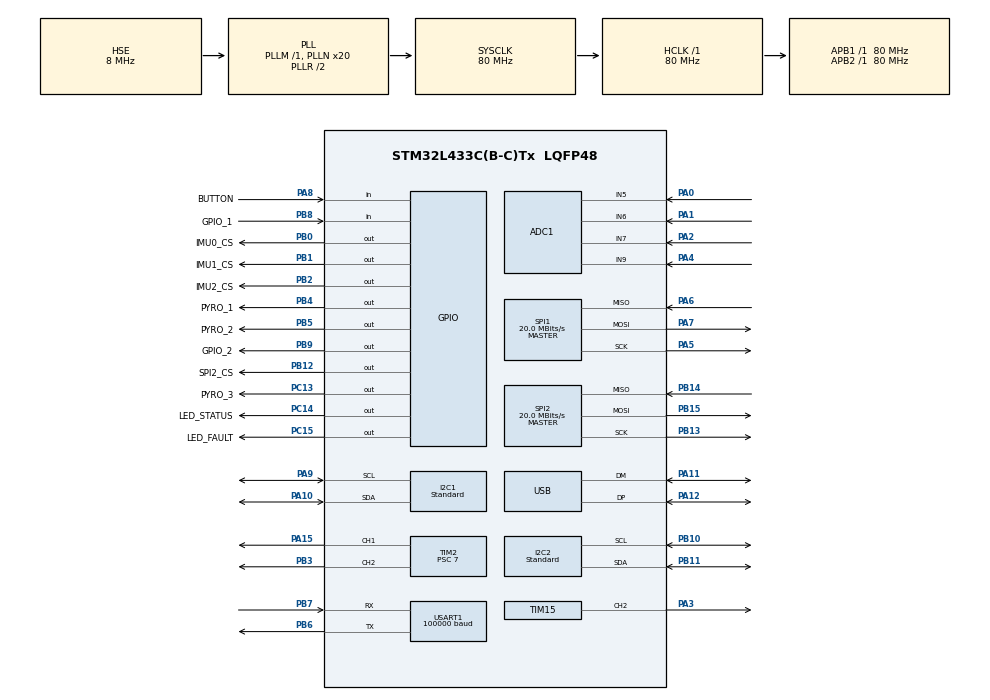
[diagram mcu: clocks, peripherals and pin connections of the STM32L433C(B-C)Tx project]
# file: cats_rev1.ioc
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ADC1.Channel-0\#ChannelRegularConversion=ADC_CHANNEL_5
ADC1.Channel-1\#ChannelRegularConversion=ADC_CHANNEL_6
ADC1.Channel-2\#ChannelRegularConversion=ADC_CHANNEL_7
ADC1.Channel-3\#ChannelRegularConversion=ADC_CHANNEL_9
ADC1.ContinuousConvMode=ENABLE
ADC1.DMAContinuousRequests=ENABLE
ADC1.NbrOfConversion=4
ADC1.NbrOfConversionFlag=1
ADC1.OffsetNumber-0\#ChannelRegularConversion=ADC_OFFSET_NONE
ADC1.OffsetNumber-1\#ChannelRegularConversion=ADC_OFFSET_NONE
ADC1.OffsetNumber-2\#ChannelRegularConversion=ADC_OFFSET_NONE
ADC1.OffsetNumber-3\#ChannelRegularConversion=ADC_OFFSET_NONE
ADC1.Rank-0\#ChannelRegularConversion=1
ADC1.Rank-1\#ChannelRegularConversion=2
ADC1.Rank-2\#ChannelRegularConversion=3
ADC1.Rank-3\#ChannelRegularConversion=4
ADC1.SamplingTime-0\#ChannelRegularConversion=ADC_SAMPLETIME_92CYCLES_5
ADC1.SamplingTime-1\#ChannelRegularConversion=ADC_SAMPLETIME_92CYCLES_5
ADC1.SamplingTime-2\#ChannelRegularConversion=ADC_SAMPLETIME_92CYCLES_5
ADC1.SamplingTime-3\#ChannelRegularConversion=ADC_SAMPLETIME_92CYCLES_5
ADC1.master=1
Dma.ADC1.0.Direction=DMA_PERIPH_TO_MEMORY
Dma.ADC1.0.Instance=DMA1_Channel1
Dma.ADC1.0.MemDataAlignment=DMA_MDATAALIGN_WORD
Dma.ADC1.0.MemInc=DMA_MINC_ENABLE
Dma.ADC1.0.Mode=DMA_CIRCULAR
Dma.ADC1.0.PeriphDataAlignment=DMA_PDATAALIGN_WORD
Dma.ADC1.0.PeriphInc=DMA_PINC_DISABLE
Dma.ADC1.0.Priority=DMA_PRIORITY_LOW
Dma.Request0=ADC1
Dma.Request1=USART1_RX
Dma.USART1_RX.1.Direction=DMA_PERIPH_TO_MEMORY
Dma.USART1_RX.1.Instance=DMA1_Channel5
Dma.USART1_RX.1.MemDataAlignment=DMA_MDATAALIGN_BYTE
Dma.USART1_RX.1.MemInc=DMA_MINC_ENABLE
Dma.USART1_RX.1.Mode=DMA_CIRCULAR
Dma.USART1_RX.1.PeriphDataAlignment=DMA_PDATAALIGN_BYTE
Dma.USART1_RX.1.PeriphInc=DMA_PINC_DISABLE
Dma.USART1_RX.1.Priority=DMA_PRIORITY_LOW
FREERTOS.HEAP_NUMBER=4
FREERTOS.INCLUDE_eTaskGetState=1
FREERTOS.INCLUDE_pcTaskGetTaskName=0
FREERTOS.INCLUDE_uxTaskGetStackHighWaterMark=1
FREERTOS.INCLUDE_uxTaskGetStackHighWaterMark2=0
FREERTOS.INCLUDE_uxTaskPriorityGet=1
FREERTOS.INCLUDE_vTaskCleanUpResources=0
FREERTOS.INCLUDE_vTaskDelay=1
FREERTOS.INCLUDE_vTaskDelayUntil=1
FREERTOS.INCLUDE_vTaskDelete=1
FREERTOS.INCLUDE_vTaskPrioritySet=1
FREERTOS.INCLUDE_vTaskSuspend=1
FREERTOS.INCLUDE_xEventGroupSetBitFromISR=0
FREERTOS.INCLUDE_xQueueGetMutexHolder=1
FREERTOS.INCLUDE_xSemaphoreGetMutexHolder=0
FREERTOS.INCLUDE_xTaskAbortDelay=0
FREERTOS.INCLUDE_xTaskGetCurrentTaskHandle=0
FREERTOS.INCLUDE_xTaskGetHandle=0
FREERTOS.INCLUDE_xTaskGetSchedulerState=1
FREERTOS.INCLUDE_xTaskResumeFromISR=1
FREERTOS.INCLUDE_xTimerPendFunctionCall=1
FREERTOS.Tasks01=task_init_name,24,256,task_init,As weak,NULL,Static,task_init_buffer,task_init_control_block
FREERTOS.configCHECK_FOR_STACK_OVERFLOW=0
FREERTOS.configENABLE_BACKWARD_COMPATIBILITY=1
FREERTOS.configENABLE_FPU=1
FREERTOS.configGENERATE_RUN_TIME_STATS=0
FREERTOS.configIDLE_SHOULD_YIELD=1
FREERTOS.configLIBRARY_LOWEST_INTERRUPT_PRIORITY=15
FREERTOS.configLIBRARY_MAX_SYSCALL_INTERRUPT_PRIORITY=5
FREERTOS.configMAX_CO_ROUTINE_PRIORITIES=2
FREERTOS.configMAX_TASK_NAME_LEN=16
FREERTOS.configMINIMAL_STACK_SIZE=128
FREERTOS.configQUEUE_REGISTRY_SIZE=8
FREERTOS.configRECORD_STACK_HIGH_ADDRESS=0
FREERTOS.configTICK_RATE_HZ=1000
FREERTOS.configTIMER_QUEUE_LENGTH=10
FREERTOS.configTIMER_TASK_PRIORITY=2
FREERTOS.configTIMER_TASK_STACK_DEPTH=256
FREERTOS.configTOTAL_HEAP_SIZE=10240
FREERTOS.configUSE_APPLICATION_TASK_TAG=0
FREERTOS.configUSE_COUNTING_SEMAPHORES=1
FREERTOS.configUSE_CO_ROUTINES=0
FREERTOS.configUSE_DAEMON_TASK_STARTUP_HOOK=0
FREERTOS.configUSE_IDLE_HOOK=0
FREERTOS.configUSE_MALLOC_FAILED_HOOK=0
FREERTOS.configUSE_MUTEXES=1
FREERTOS.configUSE_NEWLIB_REENTRANT=0
FREERTOS.configUSE_POSIX_ERRNO=0
FREERTOS.configUSE_PREEMPTION=1
FREERTOS.configUSE_RECURSIVE_MUTEXES=1
FREERTOS.configUSE_STATS_FORMATTING_FUNCTIONS=0
FREERTOS.configUSE_TASK_NOTIFICATIONS=1
FREERTOS.configUSE_TICKLESS_IDLE=0
FREERTOS.configUSE_TICK_HOOK=0
FREERTOS.configUSE_TRACE_FACILITY=1
FREERTOS.copyHeapFile=1
I2C1.AddressingMode=I2C_ADDRESSINGMODE_7BIT
I2C1.Analog_Filter=I2C_ANALOGFILTER_ENABLE
I2C1.CustomTiming=Disabled
I2C1.DualAddressMode=I2C_DUALADDRESS_DISABLE
I2C1.GeneralCallMode=I2C_GENERALCALL_DISABLE
I2C1.I2C_Coeff_DF=0
I2C1.I2C_Fall_Time=0
I2C1.I2C_Rise_Time=0
I2C1.I2C_Speed_Mode=I2C_Standard
I2C1.NoStretchMode=I2C_NOSTRETCH_DISABLE
I2C1.OwnAddress=0
I2C1.Speed=100
I2C1.Timing=0x10909CEC
I2C2.AddressingMode=I2C_ADDRESSINGMODE_7BIT
I2C2.Analog_Filter=I2C_ANALOGFILTER_ENABLE
I2C2.CustomTiming=Disabled
I2C2.DualAddressMode=I2C_DUALADDRESS_DISABLE
I2C2.GeneralCallMode=I2C_GENERALCALL_DISABLE
I2C2.I2C_Coeff_DF=0
I2C2.I2C_Fall_Time=0
I2C2.I2C_Rise_Time=0
I2C2.I2C_Speed_Mode=I2C_Standard
I2C2.NoStretchMode=I2C_NOSTRETCH_DISABLE
I2C2.OwnAddress=0
I2C2.Speed=100
I2C2.Timing=0x10909CEC
Mcu.Family=STM32L4
Mcu.Name=STM32L433C(B-C)Tx
Mcu.Package=LQFP48
NVIC.DMA1_Channel1_IRQn=true\:5\:0\:false\:false\:true\:true\:false\:true
NVIC.DMA1_Channel5_IRQn=true\:5\:0\:false\:false\:true\:true\:false\:true
NVIC.I2C1_ER_IRQn=true\:5\:0\:false\:false\:true\:true\:true\:true
NVIC.I2C1_EV_IRQn=true\:5\:0\:false\:false\:true\:true\:true\:true
NVIC.I2C2_ER_IRQn=true\:5\:0\:false\:false\:true\:true\:true\:true
NVIC.I2C2_EV_IRQn=true\:5\:0\:false\:false\:true\:true\:true\:true
NVIC.PriorityGroup=NVIC_PRIORITYGROUP_4
NVIC.SPI1_IRQn=true\:5\:0\:false\:false\:true\:true\:true\:true
NVIC.SPI2_IRQn=true\:5\:0\:false\:false\:true\:true\:true\:true
NVIC.TIM1_UP_TIM16_IRQn=true\:0\:0\:false\:false\:true\:false\:true\:true
NVIC.TimeBase=TIM1_UP_TIM16_IRQn
NVIC.TimeBaseIP=TIM1
NVIC.USART1_IRQn=true\:5\:0\:false\:false\:true\:true\:true\:true
NVIC.USB_IRQn=true\:5\:0\:false\:false\:true\:true\:true\:true
PA0.Signal=ADCx_IN5
PA1.Signal=ADCx_IN6
PA10.Mode=I2C
PA10.Signal=I2C1_SDA
PA11.Mode=Device
PA11.Signal=USB_DM
PA12.Mode=Device
PA12.Signal=USB_DP
PA13\ (JTMS-SWDIO).Mode=Serial_Wire
PA13\ (JTMS-SWDIO).Signal=SYS_JTMS-SWDIO
PA14\ (JTCK-SWCLK).Mode=Serial_Wire
PA14\ (JTCK-SWCLK).Signal=SYS_JTCK-SWCLK
PA15\ (JTDI).Signal=S_TIM2_CH1
PA2.Signal=ADCx_IN7
PA3.Signal=S_TIM15_CH2
PA4.Signal=ADCx_IN9
PA5.Mode=Full_Duplex_Master
PA5.Signal=SPI1_SCK
PA6.Mode=Full_Duplex_Master
PA6.Signal=SPI1_MISO
PA7.Mode=Full_Duplex_Master
PA7.Signal=SPI1_MOSI
PA8.GPIO_Label=BUTTON
PA8.Signal=GPIO_Input
PA9.Mode=I2C
PA9.Signal=I2C1_SCL
PB0.GPIO_Label=IMU0_CS
PB0.Signal=GPIO_Output
PB1.GPIO_Label=IMU1_CS
PB1.Signal=GPIO_Output
PB10.Mode=I2C
PB10.Signal=I2C2_SCL
PB11.Mode=I2C
PB11.Signal=I2C2_SDA
PB12.GPIO_Label=SPI2_CS
PB12.GPIO_Speed=GPIO_SPEED_FREQ_VERY_HIGH
PB12.Signal=GPIO_Output
PB13.Mode=Full_Duplex_Master
PB13.Signal=SPI2_SCK
PB14.Mode=Full_Duplex_Master
PB14.Signal=SPI2_MISO
PB15.Mode=Full_Duplex_Master
PB15.Signal=SPI2_MOSI
PB2.GPIO_Label=IMU2_CS
PB2.Signal=GPIO_Output
PB3\ (JTDO-TRACESWO).Signal=S_TIM2_CH2
PB4\ (NJTRST).GPIO_Label=PYRO_1
PB4\ (NJTRST).Signal=GPIO_Output
PB5.GPIO_Label=PYRO_2
PB5.Signal=GPIO_Output
PB6.Mode=Asynchronous
PB6.Signal=USART1_TX
PB7.Mode=Asynchronous
PB7.Signal=USART1_RX
PB8.GPIO_Label=GPIO_1
PB8.GPIO_PuPd=GPIO_PULLUP
PB8.Signal=GPIO_Input
PB9.GPIO_Label=GPIO_2
PB9.Signal=GPIO_Output
PC13.GPIO_Label=PYRO_3
PC13.Signal=GPIO_Output
PC14-OSC32_IN\ (PC14).GPIO_Label=LED_STATUS
PC14-OSC32_IN\ (PC14).Signal=GPIO_Output
PC15-OSC32_OUT\ (PC15).GPIO_Label=LED_FAULT
PC15-OSC32_OUT\ (PC15).Signal=GPIO_Output
PH0-OSC_IN\ (PH0).Mode=HSE-External-Oscillator
PH0-OSC_IN\ (PH0).Signal=RCC_OSC_IN
PH1-OSC_OUT\ (PH1).Mode=HSE-External-Oscillator
PH1-OSC_OUT\ (PH1).Signal=RCC_OSC_OUT
ProjectManager.HeapSize=0x200
ProjectManager.StackSize=0x400
ProjectManager.TargetToolchain=STM32CubeIDE
RCC.ADCFreq_Value=48000000
RCC.AHBFreq_Value=80000000
RCC.APB1Freq_Value=80000000
RCC.APB1TimFreq_Value=80000000
RCC.APB2Freq_Value=80000000
RCC.APB2TimFreq_Value=80000000
RCC.CortexFreq_Value=80000000
RCC.FLatency=FLASH_LATENCY_4
RCC.HCLKFreq_Value=80000000
RCC.HSE_VALUE=8000000
RCC.HSI48_VALUE=48000000
RCC.HSI_VALUE=16000000
RCC.LSE_VALUE=32768
RCC.MSI_VALUE=4000000
RCC.PLLN=20
RCC.PLLSAI1N=12
RCC.PLLSourceVirtual=RCC_PLLSOURCE_HSE
RCC.SYSCLKFreq_VALUE=80000000
RCC.SYSCLKSource=RCC_SYSCLKSOURCE_PLLCLK
RCC.USBFreq_Value=48000000
RCC.VCOOutputFreq_Value=160000000
SH.ADCx_IN5.0=ADC1_IN5,IN5-Single-Ended
SH.ADCx_IN6.0=ADC1_IN6,IN6-Single-Ended
SH.ADCx_IN7.0=ADC1_IN7,IN7-Single-Ended
SH.ADCx_IN9.0=ADC1_IN9,IN9-Single-Ended
SH.S_TIM15_CH2.0=TIM15_CH2,PWM Generation2 CH2
SH.S_TIM2_CH1.0=TIM2_CH1,PWM Generation1 CH1
SH.S_TIM2_CH2.0=TIM2_CH2,PWM Generation2 CH2
SPI1.BaudRatePrescaler=SPI_BAUDRATEPRESCALER_4
SPI1.CLKPhase=SPI_PHASE_1EDGE
SPI1.CLKPolarity=SPI_POLARITY_LOW
SPI1.CRCCalculation=SPI_CRCCALCULATION_DISABLE
SPI1.CalculateBaudRate=20.0 MBits/s
SPI1.DataSize=SPI_DATASIZE_8BIT
SPI1.Direction=SPI_DIRECTION_2LINES
SPI1.FirstBit=SPI_FIRSTBIT_MSB
SPI1.Mode=SPI_MODE_MASTER
SPI1.NSS=SPI_NSS_SOFT
SPI1.NSSPMode=SPI_NSS_PULSE_ENABLE
SPI1.TIMode=SPI_TIMODE_DISABLE
SPI1.VirtualType=VM_MASTER
SPI2.BaudRatePrescaler=SPI_BAUDRATEPRESCALER_4
SPI2.CalculateBaudRate=20.0 MBits/s
SPI2.DataSize=SPI_DATASIZE_8BIT
SPI2.Direction=SPI_DIRECTION_2LINES
SPI2.Mode=SPI_MODE_MASTER
SPI2.VirtualType=VM_MASTER
TIM15.Channel-PWM\ Generation2\ CH2=TIM_CHANNEL_2
TIM15.Period=40000
TIM15.Prescaler=1
TIM2.Channel-PWM\ Generation1\ CH1=TIM_CHANNEL_1
TIM2.Channel-PWM\ Generation2\ CH2=TIM_CHANNEL_2
TIM2.Period=199999
TIM2.Prescaler=7
TIM2.Pulse-PWM\ Generation1\ CH1=0
TIM2.Pulse-PWM\ Generation2\ CH2=199999
USART1.BaudRate=100000
USART1.Mode=MODE_RX
USART1.StopBits=STOPBITS_2
USART1.VirtualMode-Asynchronous=VM_ASYNC
USART1.WordLength=WORDLENGTH_9B
USB.DeviceSpeed=PCD_SPEED_FULL
USB.Sof_enable=DISABLE
USB.battery_charging_enable=DISABLE
USB.low_power_enable=DISABLE
USB.lpm_enable=DISABLE
USB.phy_itface=PCD_PHY_EMBEDDED
USB_DEVICE.CLASS_NAME_FS=CDC
USB_DEVICE.VirtualMode=Cdc
USB_DEVICE.VirtualModeFS=Cdc_FS
VP_FREERTOS_VS_CMSIS_V2.Mode=CMSIS_V2
VP_SYS_VS_tim1.Mode=TIM1
VP_USB_DEVICE_VS_USB_DEVICE_CDC_FS.Mode=CDC_FS
board=custom

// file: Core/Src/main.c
/* USER CODE BEGIN Header */
/**
 ******************************************************************************
 * @file           : main.c
 * @brief          : Main program body
 ******************************************************************************
 * @attention
 *
 * <h2><center>&copy; Copyright (c) 2020 STMicroelectronics.
 * All rights reserved.</center></h2>
 *
 * This software component is licensed by ST under Ultimate Liberty license
 * SLA0044, the "License"; You may not use this file except in compliance with
 * the License. You may obtain a copy of the License at:
 *                             www.st.com/SLA0044
 *
 ******************************************************************************
 */
/* USER CODE END Header */
#include "main.h"
#include "cmsis_os.h"
#include "usb_device.h"

/* USER CODE BEGIN Includes */
#include "util/types.h"
#include "util/log.h"
#include "util/recorder.h"
/* USER CODE END Includes */

typedef StaticTask_t osStaticThreadDef_t;

ADC_HandleTypeDef hadc1;
DMA_HandleTypeDef hdma_adc1;

I2C_HandleTypeDef hi2c1;
I2C_HandleTypeDef hi2c2;

SPI_HandleTypeDef hspi1;
SPI_HandleTypeDef hspi2;

TIM_HandleTypeDef htim2;
TIM_HandleTypeDef htim15;

UART_HandleTypeDef huart1;
DMA_HandleTypeDef hdma_usart1_rx;

/* Definitions for task_init_name */
osThreadId_t task_init_nameHandle;
uint32_t task_init_buffer[ 256 ];
osStaticThreadDef_t task_init_control_block;
const osThreadAttr_t task_init_name_attributes = {
  .name = "task_init_name",
  .stack_mem = &task_init_buffer[0],
  .stack_size = sizeof(task_init_buffer),
  .cb_mem = &task_init_control_block,
  .cb_size = sizeof(task_init_control_block),
  .priority = (osPriority_t) osPriorityNormal,
};

void SystemClock_Config(void);
static void MX_GPIO_Init(void);
static void MX_DMA_Init(void);
static void MX_I2C1_Init(void);
static void MX_I2C2_Init(void);
static void MX_SPI1_Init(void);
static void MX_ADC1_Init(void);
static void MX_SPI2_Init(void);
static void MX_TIM2_Init(void);
static void MX_USART1_UART_Init(void);
static void MX_TIM15_Init(void);
void task_init(void *argument);

int main(void)
{

  /* MCU Configuration--------------------------------------------------------*/

  /* Reset of all peripherals, Initializes the Flash interface and the Systick. */
  HAL_Init();

  /* Configure the system clock */
  SystemClock_Config();

  /* Initialize all configured peripherals */
  MX_GPIO_Init();
  MX_DMA_Init();
  MX_I2C1_Init();
  MX_I2C2_Init();
  MX_SPI1_Init();
  MX_ADC1_Init();
  MX_SPI2_Init();
  MX_TIM2_Init();
  MX_USART1_UART_Init();
  MX_TIM15_Init();
  /* USER CODE BEGIN 2 */
  MX_USB_DEVICE_Init();
#if (configUSE_TRACE_FACILITY == 1)
  vTraceEnable(TRC_INIT);
#endif
  /* USER CODE END 2 */

  /* Init scheduler */
  osKernelInitialize();

  /* USER CODE BEGIN RTOS_MUTEX */
  /* add mutexes, ... */
#ifdef CATS_DEBUG
  const osMutexAttr_t print_mutex_attr = {
      "print_mutex",       // human readable mutex name
      osMutexPrioInherit,  // attr_bits
      NULL,                // memory for control block
      0U                   // size for control block
  };
  print_mutex = osMutexNew(&print_mutex_attr);
#endif
  /* USER CODE END RTOS_MUTEX */

  /* Create the thread(s) */
  /* creation of task_init_name */
  task_init_nameHandle = osThreadNew(task_init, NULL, &task_init_name_attributes);

  /* Start scheduler */
  osKernelStart();

  /* We should never get here as control is now taken by the scheduler */
  /* Infinite loop */
  while (1) {

  }
}

void SystemClock_Config(void)
{
  RCC_OscInitTypeDef RCC_OscInitStruct = {0};
  RCC_ClkInitTypeDef RCC_ClkInitStruct = {0};
  RCC_PeriphCLKInitTypeDef PeriphClkInit = {0};

  /** Initializes the RCC Oscillators according to the specified parameters
  * in the RCC_OscInitTypeDef structure.
  */
  RCC_OscInitStruct.OscillatorType = RCC_OSCILLATORTYPE_HSE;
  RCC_OscInitStruct.HSEState = RCC_HSE_ON;
  RCC_OscInitStruct.PLL.PLLState = RCC_PLL_ON;
  RCC_OscInitStruct.PLL.PLLSource = RCC_PLLSOURCE_HSE;
  RCC_OscInitStruct.PLL.PLLM = 1;
  RCC_OscInitStruct.PLL.PLLN = 20;
  RCC_OscInitStruct.PLL.PLLP = RCC_PLLP_DIV7;
  RCC_OscInitStruct.PLL.PLLQ = RCC_PLLQ_DIV2;
  RCC_OscInitStruct.PLL.PLLR = RCC_PLLR_DIV2;
  if (HAL_RCC_OscConfig(&RCC_OscInitStruct) != HAL_OK)
  {
    Error_Handler();
  }
  /** Initializes the CPU, AHB and APB buses clocks
  */
  RCC_ClkInitStruct.ClockType = RCC_CLOCKTYPE_HCLK|RCC_CLOCKTYPE_SYSCLK
                              |RCC_CLOCKTYPE_PCLK1|RCC_CLOCKTYPE_PCLK2;
  RCC_ClkInitStruct.SYSCLKSource = RCC_SYSCLKSOURCE_PLLCLK;
  RCC_ClkInitStruct.AHBCLKDivider = RCC_SYSCLK_DIV1;
  RCC_ClkInitStruct.APB1CLKDivider = RCC_HCLK_DIV1;
  RCC_ClkInitStruct.APB2CLKDivider = RCC_HCLK_DIV1;

  if (HAL_RCC_ClockConfig(&RCC_ClkInitStruct, FLASH_LATENCY_4) != HAL_OK)
  {
    Error_Handler();
  }
  PeriphClkInit.PeriphClockSelection = RCC_PERIPHCLK_USART1|RCC_PERIPHCLK_I2C1
                              |RCC_PERIPHCLK_I2C2|RCC_PERIPHCLK_USB
                              |RCC_PERIPHCLK_ADC;
  PeriphClkInit.Usart1ClockSelection = RCC_USART1CLKSOURCE_PCLK2;
  PeriphClkInit.I2c1ClockSelection = RCC_I2C1CLKSOURCE_PCLK1;
  PeriphClkInit.I2c2ClockSelection = RCC_I2C2CLKSOURCE_PCLK1;
  PeriphClkInit.AdcClockSelection = RCC_ADCCLKSOURCE_PLLSAI1;
  PeriphClkInit.UsbClockSelection = RCC_USBCLKSOURCE_PLLSAI1;
  PeriphClkInit.PLLSAI1.PLLSAI1Source = RCC_PLLSOURCE_HSE;
  PeriphClkInit.PLLSAI1.PLLSAI1M = 1;
  PeriphClkInit.PLLSAI1.PLLSAI1N = 12;
  PeriphClkInit.PLLSAI1.PLLSAI1P = RCC_PLLP_DIV7;
  PeriphClkInit.PLLSAI1.PLLSAI1Q = RCC_PLLQ_DIV2;
  PeriphClkInit.PLLSAI1.PLLSAI1R = RCC_PLLR_DIV2;
  PeriphClkInit.PLLSAI1.PLLSAI1ClockOut = RCC_PLLSAI1_48M2CLK|RCC_PLLSAI1_ADC1CLK;
  if (HAL_RCCEx_PeriphCLKConfig(&PeriphClkInit) != HAL_OK)
  {
    Error_Handler();
  }
  /** Configure the main internal regulator output voltage
  */
  if (HAL_PWREx_ControlVoltageScaling(PWR_REGULATOR_VOLTAGE_SCALE1) != HAL_OK)
  {
    Error_Handler();
  }
}

static void MX_ADC1_Init(void)
{

  ADC_ChannelConfTypeDef sConfig = {0};

  /** Common config
  */
  hadc1.Instance = ADC1;
  hadc1.Init.ClockPrescaler = ADC_CLOCK_ASYNC_DIV1;
  hadc1.Init.Resolution = ADC_RESOLUTION_12B;
  hadc1.Init.DataAlign = ADC_DATAALIGN_RIGHT;
  hadc1.Init.ScanConvMode = ADC_SCAN_ENABLE;
  hadc1.Init.EOCSelection = ADC_EOC_SINGLE_CONV;
  hadc1.Init.LowPowerAutoWait = DISABLE;
  hadc1.Init.ContinuousConvMode = ENABLE;
  hadc1.Init.NbrOfConversion = 4;
  hadc1.Init.DiscontinuousConvMode = DISABLE;
  hadc1.Init.ExternalTrigConv = ADC_SOFTWARE_START;
  hadc1.Init.ExternalTrigConvEdge = ADC_EXTERNALTRIGCONVEDGE_NONE;
  hadc1.Init.DMAContinuousRequests = ENABLE;
  hadc1.Init.Overrun = ADC_OVR_DATA_PRESERVED;
  hadc1.Init.OversamplingMode = DISABLE;
  if (HAL_ADC_Init(&hadc1) != HAL_OK)
  {
    Error_Handler();
  }
  /** Configure Regular Channel
  */
  sConfig.Channel = ADC_CHANNEL_5;
  sConfig.Rank = ADC_REGULAR_RANK_1;
  sConfig.SamplingTime = ADC_SAMPLETIME_92CYCLES_5;
  sConfig.SingleDiff = ADC_SINGLE_ENDED;
  sConfig.OffsetNumber = ADC_OFFSET_NONE;
  sConfig.Offset = 0;
  if (HAL_ADC_ConfigChannel(&hadc1, &sConfig) != HAL_OK)
  {
    Error_Handler();
  }
  /** Configure Regular Channel
  */
  sConfig.Channel = ADC_CHANNEL_6;
  sConfig.Rank = ADC_REGULAR_RANK_2;
  if (HAL_ADC_ConfigChannel(&hadc1, &sConfig) != HAL_OK)
  {
    Error_Handler();
  }
  /** Configure Regular Channel
  */
  sConfig.Channel = ADC_CHANNEL_7;
  sConfig.Rank = ADC_REGULAR_RANK_3;
  if (HAL_ADC_ConfigChannel(&hadc1, &sConfig) != HAL_OK)
  {
    Error_Handler();
  }
  /** Configure Regular Channel
  */
  sConfig.Channel = ADC_CHANNEL_9;
  sConfig.Rank = ADC_REGULAR_RANK_4;
  if (HAL_ADC_ConfigChannel(&hadc1, &sConfig) != HAL_OK)
  {
    Error_Handler();
  }

}

static void MX_I2C1_Init(void)
{

  hi2c1.Instance = I2C1;
  hi2c1.Init.Timing = 0x10909CEC;
  hi2c1.Init.OwnAddress1 = 0;
  hi2c1.Init.AddressingMode = I2C_ADDRESSINGMODE_7BIT;
  hi2c1.Init.DualAddressMode = I2C_DUALADDRESS_DISABLE;
  hi2c1.Init.OwnAddress2 = 0;
  hi2c1.Init.OwnAddress2Masks = I2C_OA2_NOMASK;
  hi2c1.Init.GeneralCallMode = I2C_GENERALCALL_DISABLE;
  hi2c1.Init.NoStretchMode = I2C_NOSTRETCH_DISABLE;
  if (HAL_I2C_Init(&hi2c1) != HAL_OK)
  {
    Error_Handler();
  }
  /** Configure Analogue filter
  */
  if (HAL_I2CEx_ConfigAnalogFilter(&hi2c1, I2C_ANALOGFILTER_ENABLE) != HAL_OK)
  {
    Error_Handler();
  }
  /** Configure Digital filter
  */
  if (HAL_I2CEx_ConfigDigitalFilter(&hi2c1, 0) != HAL_OK)
  {
    Error_Handler();
  }

}

static void MX_I2C2_Init(void)
{

  hi2c2.Instance = I2C2;
  hi2c2.Init.Timing = 0x10909CEC;
  hi2c2.Init.OwnAddress1 = 0;
  hi2c2.Init.AddressingMode = I2C_ADDRESSINGMODE_7BIT;
  hi2c2.Init.DualAddressMode = I2C_DUALADDRESS_DISABLE;
  hi2c2.Init.OwnAddress2 = 0;
  hi2c2.Init.OwnAddress2Masks = I2C_OA2_NOMASK;
  hi2c2.Init.GeneralCallMode = I2C_GENERALCALL_DISABLE;
  hi2c2.Init.NoStretchMode = I2C_NOSTRETCH_DISABLE;
  if (HAL_I2C_Init(&hi2c2) != HAL_OK)
  {
    Error_Handler();
  }
  /** Configure Analogue filter
  */
  if (HAL_I2CEx_ConfigAnalogFilter(&hi2c2, I2C_ANALOGFILTER_ENABLE) != HAL_OK)
  {
    Error_Handler();
  }
  /** Configure Digital filter
  */
  if (HAL_I2CEx_ConfigDigitalFilter(&hi2c2, 0) != HAL_OK)
  {
    Error_Handler();
  }

}

static void MX_SPI1_Init(void)
{

  /* SPI1 parameter configuration*/
  hspi1.Instance = SPI1;
  hspi1.Init.Mode = SPI_MODE_MASTER;
  hspi1.Init.Direction = SPI_DIRECTION_2LINES;
  hspi1.Init.DataSize = SPI_DATASIZE_8BIT;
  hspi1.Init.CLKPolarity = SPI_POLARITY_LOW;
  hspi1.Init.CLKPhase = SPI_PHASE_1EDGE;
  hspi1.Init.NSS = SPI_NSS_SOFT;
  hspi1.Init.BaudRatePrescaler = SPI_BAUDRATEPRESCALER_4;
  hspi1.Init.FirstBit = SPI_FIRSTBIT_MSB;
  hspi1.Init.TIMode = SPI_TIMODE_DISABLE;
  hspi1.Init.CRCCalculation = SPI_CRCCALCULATION_DISABLE;
  hspi1.Init.CRCPolynomial = 7;
  hspi1.Init.CRCLength = SPI_CRC_LENGTH_DATASIZE;
  hspi1.Init.NSSPMode = SPI_NSS_PULSE_ENABLE;
  if (HAL_SPI_Init(&hspi1) != HAL_OK)
  {
    Error_Handler();
  }

}

static void MX_SPI2_Init(void)
{

  /* SPI2 parameter configuration*/
  hspi2.Instance = SPI2;
  hspi2.Init.Mode = SPI_MODE_MASTER;
  hspi2.Init.Direction = SPI_DIRECTION_2LINES;
  hspi2.Init.DataSize = SPI_DATASIZE_8BIT;
  hspi2.Init.CLKPolarity = SPI_POLARITY_LOW;
  hspi2.Init.CLKPhase = SPI_PHASE_1EDGE;
  hspi2.Init.NSS = SPI_NSS_SOFT;
  hspi2.Init.BaudRatePrescaler = SPI_BAUDRATEPRESCALER_4;
  hspi2.Init.FirstBit = SPI_FIRSTBIT_MSB;
  hspi2.Init.TIMode = SPI_TIMODE_DISABLE;
  hspi2.Init.CRCCalculation = SPI_CRCCALCULATION_DISABLE;
  hspi2.Init.CRCPolynomial = 7;
  hspi2.Init.CRCLength = SPI_CRC_LENGTH_DATASIZE;
  hspi2.Init.NSSPMode = SPI_NSS_PULSE_ENABLE;
  if (HAL_SPI_Init(&hspi2) != HAL_OK)
  {
    Error_Handler();
  }

}

static void MX_TIM2_Init(void)
{

  TIM_MasterConfigTypeDef sMasterConfig = {0};
  TIM_OC_InitTypeDef sConfigOC = {0};

  htim2.Instance = TIM2;
  htim2.Init.Prescaler = 7;
  htim2.Init.CounterMode = TIM_COUNTERMODE_UP;
  htim2.Init.Period = 199999;
  htim2.Init.ClockDivision = TIM_CLOCKDIVISION_DIV1;
  htim2.Init.AutoReloadPreload = TIM_AUTORELOAD_PRELOAD_DISABLE;
  if (HAL_TIM_PWM_Init(&htim2) != HAL_OK)
  {
    Error_Handler();
  }
  sMasterConfig.MasterOutputTrigger = TIM_TRGO_RESET;
  sMasterConfig.MasterSlaveMode = TIM_MASTERSLAVEMODE_DISABLE;
  if (HAL_TIMEx_MasterConfigSynchronization(&htim2, &sMasterConfig) != HAL_OK)
  {
    Error_Handler();
  }
  sConfigOC.OCMode = TIM_OCMODE_PWM1;
  sConfigOC.Pulse = 0;
  sConfigOC.OCPolarity = TIM_OCPOLARITY_HIGH;
  sConfigOC.OCFastMode = TIM_OCFAST_DISABLE;
  if (HAL_TIM_PWM_ConfigChannel(&htim2, &sConfigOC, TIM_CHANNEL_1) != HAL_OK)
  {
    Error_Handler();
  }
  sConfigOC.Pulse = 199999;
  if (HAL_TIM_PWM_ConfigChannel(&htim2, &sConfigOC, TIM_CHANNEL_2) != HAL_OK)
  {
    Error_Handler();
  }
  /* USER CODE BEGIN TIM2_Init 2 */
  HAL_TIM_PWM_Start(&htim2, TIM_CHANNEL_1);
  HAL_TIM_PWM_Start(&htim2, TIM_CHANNEL_2);
  /* USER CODE END TIM2_Init 2 */
  HAL_TIM_MspPostInit(&htim2);

}

static void MX_TIM15_Init(void)
{

  TIM_MasterConfigTypeDef sMasterConfig = {0};
  TIM_OC_InitTypeDef sConfigOC = {0};
  TIM_BreakDeadTimeConfigTypeDef sBreakDeadTimeConfig = {0};

  htim15.Instance = TIM15;
  htim15.Init.Prescaler = 1;
  htim15.Init.CounterMode = TIM_COUNTERMODE_UP;
  htim15.Init.Period = 40000;
  htim15.Init.ClockDivision = TIM_CLOCKDIVISION_DIV1;
  htim15.Init.RepetitionCounter = 0;
  htim15.Init.AutoReloadPreload = TIM_AUTORELOAD_PRELOAD_DISABLE;
  if (HAL_TIM_PWM_Init(&htim15) != HAL_OK)
  {
    Error_Handler();
  }
  sMasterConfig.MasterOutputTrigger = TIM_TRGO_RESET;
  sMasterConfig.MasterSlaveMode = TIM_MASTERSLAVEMODE_DISABLE;
  if (HAL_TIMEx_MasterConfigSynchronization(&htim15, &sMasterConfig) != HAL_OK)
  {
    Error_Handler();
  }
  sConfigOC.OCMode = TIM_OCMODE_PWM1;
  sConfigOC.Pulse = 0;
  sConfigOC.OCPolarity = TIM_OCPOLARITY_HIGH;
  sConfigOC.OCNPolarity = TIM_OCNPOLARITY_HIGH;
  sConfigOC.OCFastMode = TIM_OCFAST_DISABLE;
  sConfigOC.OCIdleState = TIM_OCIDLESTATE_RESET;
  sConfigOC.OCNIdleState = TIM_OCNIDLESTATE_RESET;
  if (HAL_TIM_PWM_ConfigChannel(&htim15, &sConfigOC, TIM_CHANNEL_2) != HAL_OK)
  {
    Error_Handler();
  }
  sBreakDeadTimeConfig.OffStateRunMode = TIM_OSSR_DISABLE;
  sBreakDeadTimeConfig.OffStateIDLEMode = TIM_OSSI_DISABLE;
  sBreakDeadTimeConfig.LockLevel = TIM_LOCKLEVEL_OFF;
  sBreakDeadTimeConfig.DeadTime = 0;
  sBreakDeadTimeConfig.BreakState = TIM_BREAK_DISABLE;
  sBreakDeadTimeConfig.BreakPolarity = TIM_BREAKPOLARITY_HIGH;
  sBreakDeadTimeConfig.AutomaticOutput = TIM_AUTOMATICOUTPUT_DISABLE;
  if (HAL_TIMEx_ConfigBreakDeadTime(&htim15, &sBreakDeadTimeConfig) != HAL_OK)
  {
    Error_Handler();
  }
  HAL_TIM_MspPostInit(&htim15);

}

static void MX_USART1_UART_Init(void)
{

  huart1.Instance = USART1;
  huart1.Init.BaudRate = 100000;
  huart1.Init.WordLength = UART_WORDLENGTH_9B;
  huart1.Init.StopBits = UART_STOPBITS_2;
  huart1.Init.Parity = UART_PARITY_NONE;
  huart1.Init.Mode = UART_MODE_RX;
  huart1.Init.HwFlowCtl = UART_HWCONTROL_NONE;
  huart1.Init.OverSampling = UART_OVERSAMPLING_16;
  huart1.Init.OneBitSampling = UART_ONE_BIT_SAMPLE_DISABLE;
  huart1.AdvancedInit.AdvFeatureInit = UART_ADVFEATURE_NO_INIT;
  if (HAL_UART_Init(&huart1) != HAL_OK)
  {
    Error_Handler();
  }

}

static void MX_DMA_Init(void)
{

  /* DMA controller clock enable */
  __HAL_RCC_DMA1_CLK_ENABLE();

  /* DMA interrupt init */
  /* DMA1_Channel1_IRQn interrupt configuration */
  HAL_NVIC_SetPriority(DMA1_Channel1_IRQn, 5, 0);
  HAL_NVIC_EnableIRQ(DMA1_Channel1_IRQn);
  /* DMA1_Channel5_IRQn interrupt configuration */
  HAL_NVIC_SetPriority(DMA1_Channel5_IRQn, 5, 0);
  HAL_NVIC_EnableIRQ(DMA1_Channel5_IRQn);

}

static void MX_GPIO_Init(void)
{
  GPIO_InitTypeDef GPIO_InitStruct = {0};

  /* GPIO Ports Clock Enable */
  __HAL_RCC_GPIOC_CLK_ENABLE();
  __HAL_RCC_GPIOH_CLK_ENABLE();
  __HAL_RCC_GPIOA_CLK_ENABLE();
  __HAL_RCC_GPIOB_CLK_ENABLE();

  /*Configure GPIO pin Output Level */
  HAL_GPIO_WritePin(GPIOC, PYRO_3_Pin|LED_STATUS_Pin|LED_FAULT_Pin, GPIO_PIN_RESET);

  /*Configure GPIO pin Output Level */
  HAL_GPIO_WritePin(GPIOB, IMU0_CS_Pin|IMU1_CS_Pin|IMU2_CS_Pin|SPI2_CS_Pin
                          |PYRO_1_Pin|PYRO_2_Pin|GPIO_2_Pin, GPIO_PIN_RESET);

  /*Configure GPIO pins : PYRO_3_Pin LED_STATUS_Pin LED_FAULT_Pin */
  GPIO_InitStruct.Pin = PYRO_3_Pin|LED_STATUS_Pin|LED_FAULT_Pin;
  GPIO_InitStruct.Mode = GPIO_MODE_OUTPUT_PP;
  GPIO_InitStruct.Pull = GPIO_NOPULL;
  GPIO_InitStruct.Speed = GPIO_SPEED_FREQ_LOW;
  HAL_GPIO_Init(GPIOC, &GPIO_InitStruct);

  /*Configure GPIO pins : IMU0_CS_Pin IMU1_CS_Pin IMU2_CS_Pin PYRO_1_Pin
                           PYRO_2_Pin GPIO_2_Pin */
  GPIO_InitStruct.Pin = IMU0_CS_Pin|IMU1_CS_Pin|IMU2_CS_Pin|PYRO_1_Pin
                          |PYRO_2_Pin|GPIO_2_Pin;
  GPIO_InitStruct.Mode = GPIO_MODE_OUTPUT_PP;
  GPIO_InitStruct.Pull = GPIO_NOPULL;
  GPIO_InitStruct.Speed = GPIO_SPEED_FREQ_LOW;
  HAL_GPIO_Init(GPIOB, &GPIO_InitStruct);

  /*Configure GPIO pin : SPI2_CS_Pin */
  GPIO_InitStruct.Pin = SPI2_CS_Pin;
  GPIO_InitStruct.Mode = GPIO_MODE_OUTPUT_PP;
  GPIO_InitStruct.Pull = GPIO_NOPULL;
  GPIO_InitStruct.Speed = GPIO_SPEED_FREQ_VERY_HIGH;
  HAL_GPIO_Init(SPI2_CS_GPIO_Port, &GPIO_InitStruct);

  /*Configure GPIO pin : BUTTON_Pin */
  GPIO_InitStruct.Pin = BUTTON_Pin;
  GPIO_InitStruct.Mode = GPIO_MODE_INPUT;
  GPIO_InitStruct.Pull = GPIO_NOPULL;
  HAL_GPIO_Init(BUTTON_GPIO_Port, &GPIO_InitStruct);

  /*Configure GPIO pin : GPIO_1_Pin */
  GPIO_InitStruct.Pin = GPIO_1_Pin;
  GPIO_InitStruct.Mode = GPIO_MODE_INPUT;
  GPIO_InitStruct.Pull = GPIO_PULLUP;
  HAL_GPIO_Init(GPIO_1_GPIO_Port, &GPIO_InitStruct);

}

__weak void task_init(void *argument)
{
  /* init code for USB_DEVICE */
  MX_USB_DEVICE_Init();
  /* USER CODE BEGIN 5 */
  for (;;) {
    osDelay(100);
  }
  /* USER CODE END 5 */
}

 /**
  * @brief  Period elapsed callback in non blocking mode
  * @note   This function is called  when TIM1 interrupt took place, inside
  * HAL_TIM_IRQHandler(). It makes a direct call to HAL_IncTick() to increment
  * a global variable "uwTick" used as application time base.
  * @param  htim : TIM handle
  * @retval None
  */
void HAL_TIM_PeriodElapsedCallback(TIM_HandleTypeDef *htim)
{
  if (htim->Instance == TIM1) {
    HAL_IncTick();
  }
}

void Error_Handler(void)
{
  __disable_irq();
  while (1) {
  }
}

#ifdef  USE_FULL_ASSERT
/**
  * @brief  Reports the name of the source file and the source line number
  *         where the assert_param error has occurred.
  * @param  file: pointer to the source file name
  * @param  line: assert_param error line source number
  * @retval None
  */
void assert_failed(uint8_t *file, uint32_t line)
{
  /* USER CODE BEGIN 6 */
  /* User can add his own implementation to report the file name and line
     number,
     ex: printf("Wrong parameters value: file %s on line %d\r\n", file, line) */
  /* USER CODE END 6 */
}
#endif /* USE_FULL_ASSERT */

/************************ (C) COPYRIGHT STMicroelectronics *****END OF FILE****/
